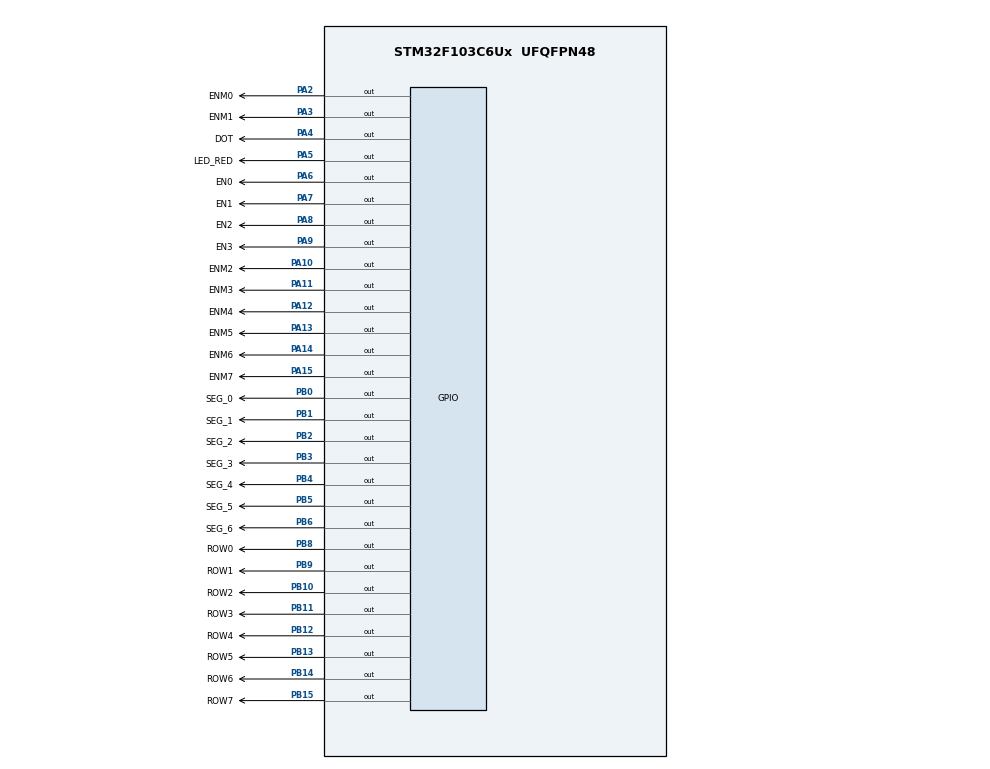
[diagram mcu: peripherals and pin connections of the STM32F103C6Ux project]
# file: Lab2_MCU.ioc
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Mcu.Family=STM32F1
Mcu.Name=STM32F103C6Ux
Mcu.Package=UFQFPN48
NVIC.PriorityGroup=NVIC_PRIORITYGROUP_4
NVIC.TIM2_IRQn=true\:0\:0\:false\:false\:true\:true\:true\:true
PA10.GPIO_Label=ENM2
PA10.Signal=GPIO_Output
PA11.GPIO_Label=ENM3
PA11.Signal=GPIO_Output
PA12.GPIO_Label=ENM4
PA12.Signal=GPIO_Output
PA13.GPIO_Label=ENM5
PA13.Signal=GPIO_Output
PA14.GPIO_Label=ENM6
PA14.Signal=GPIO_Output
PA15.GPIO_Label=ENM7
PA15.Signal=GPIO_Output
PA2.GPIO_Label=ENM0
PA2.Signal=GPIO_Output
PA3.GPIO_Label=ENM1
PA3.Signal=GPIO_Output
PA4.GPIO_Label=DOT
PA4.Signal=GPIO_Output
PA5.GPIO_Label=LED_RED
PA5.Signal=GPIO_Output
PA6.GPIO_Label=EN0
PA6.Signal=GPIO_Output
PA7.GPIO_Label=EN1
PA7.Signal=GPIO_Output
PA8.GPIO_Label=EN2
PA8.Signal=GPIO_Output
PA9.GPIO_Label=EN3
PA9.Signal=GPIO_Output
PB0.GPIO_Label=SEG_0
PB0.Signal=GPIO_Output
PB1.GPIO_Label=SEG_1
PB1.Signal=GPIO_Output
PB10.GPIO_Label=ROW2
PB10.Signal=GPIO_Output
PB11.GPIO_Label=ROW3
PB11.Signal=GPIO_Output
PB12.GPIO_Label=ROW4
PB12.Signal=GPIO_Output
PB13.GPIO_Label=ROW5
PB13.Signal=GPIO_Output
PB14.GPIO_Label=ROW6
PB14.Signal=GPIO_Output
PB15.GPIO_Label=ROW7
PB15.Signal=GPIO_Output
PB2.GPIO_Label=SEG_2
PB2.Signal=GPIO_Output
PB3.GPIO_Label=SEG_3
PB3.Signal=GPIO_Output
PB4.GPIO_Label=SEG_4
PB4.Signal=GPIO_Output
PB5.GPIO_Label=SEG_5
PB5.Signal=GPIO_Output
PB6.GPIO_Label=SEG_6
PB6.Signal=GPIO_Output
PB8.GPIO_Label=ROW0
PB8.Signal=GPIO_Output
PB9.GPIO_Label=ROW1
PB9.Signal=GPIO_Output
ProjectManager.HeapSize=0x200
ProjectManager.StackSize=0x400
ProjectManager.TargetToolchain=STM32CubeIDE
RCC.APB1Freq_Value=8000000
RCC.APB2Freq_Value=8000000
TIM2.Period=9
TIM2.Prescaler=7999
VP_SYS_VS_ND.Mode=No_Debug
VP_TIM2_VS_ClockSourceINT.Mode=Internal
board=custom

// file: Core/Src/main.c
/* USER CODE BEGIN Header */
/**
  ******************************************************************************
  * @file           : main.c
  * @brief          : Main program body
  ******************************************************************************
  * @attention
  *
  * Copyright (c) 2024 STMicroelectronics.
  * All rights reserved.
  *
  * This software is licensed under terms that can be found in the LICENSE file
  * in the root directory of this software component.
  * If no LICENSE file comes with this software, it is provided AS-IS.
  *
  ******************************************************************************
  */
/* USER CODE END Header */
#include "main.h"

TIM_HandleTypeDef htim2;

void SystemClock_Config(void);
static void MX_GPIO_Init(void);
static void MX_TIM2_Init(void);

/* USER CODE BEGIN 0 */

void display7SEG(int counter){
	if(counter == 0){
			HAL_GPIO_WritePin(SEG_0_GPIO_Port, SEG_0_Pin, RESET);
			HAL_GPIO_WritePin(SEG_1_GPIO_Port, SEG_1_Pin, RESET);
			HAL_GPIO_WritePin(SEG_2_GPIO_Port, SEG_2_Pin, RESET);
			HAL_GPIO_WritePin(SEG_3_GPIO_Port, SEG_3_Pin, RESET);
			HAL_GPIO_WritePin(SEG_4_GPIO_Port, SEG_4_Pin, RESET);
			HAL_GPIO_WritePin(SEG_5_GPIO_Port, SEG_5_Pin, RESET);
			HAL_GPIO_WritePin(SEG_6_GPIO_Port, SEG_6_Pin, SET);
	}
	if(counter == 1){
			HAL_GPIO_WritePin(SEG_0_GPIO_Port, SEG_0_Pin, SET);
			HAL_GPIO_WritePin(SEG_1_GPIO_Port, SEG_1_Pin, RESET);
			HAL_GPIO_WritePin(SEG_2_GPIO_Port, SEG_2_Pin, RESET);
			HAL_GPIO_WritePin(SEG_3_GPIO_Port, SEG_3_Pin, SET);
			HAL_GPIO_WritePin(SEG_4_GPIO_Port, SEG_4_Pin, SET);
			HAL_GPIO_WritePin(SEG_5_GPIO_Port, SEG_5_Pin, SET);
			HAL_GPIO_WritePin(SEG_6_GPIO_Port, SEG_6_Pin, SET);
		}
	if(counter == 2){
			HAL_GPIO_WritePin(SEG_0_GPIO_Port, SEG_0_Pin, RESET);
			HAL_GPIO_WritePin(SEG_1_GPIO_Port, SEG_1_Pin, RESET);
			HAL_GPIO_WritePin(SEG_2_GPIO_Port, SEG_2_Pin, SET);
			HAL_GPIO_WritePin(SEG_3_GPIO_Port, SEG_3_Pin, RESET);
			HAL_GPIO_WritePin(SEG_4_GPIO_Port, SEG_4_Pin, RESET);
			HAL_GPIO_WritePin(SEG_5_GPIO_Port, SEG_5_Pin, SET);
			HAL_GPIO_WritePin(SEG_6_GPIO_Port, SEG_6_Pin, RESET);
		}
	if(counter == 3){
			HAL_GPIO_WritePin(SEG_0_GPIO_Port, SEG_0_Pin, RESET);
			HAL_GPIO_WritePin(SEG_1_GPIO_Port, SEG_1_Pin, RESET);
			HAL_GPIO_WritePin(SEG_2_GPIO_Port, SEG_2_Pin, RESET);
			HAL_GPIO_WritePin(SEG_3_GPIO_Port, SEG_3_Pin, RESET);
			HAL_GPIO_WritePin(SEG_4_GPIO_Port, SEG_4_Pin, SET);
			HAL_GPIO_WritePin(SEG_5_GPIO_Port, SEG_5_Pin, SET);
			HAL_GPIO_WritePin(SEG_6_GPIO_Port, SEG_6_Pin, RESET);
		}
	if(counter == 4){
			HAL_GPIO_WritePin(SEG_0_GPIO_Port, SEG_0_Pin, SET);
			HAL_GPIO_WritePin(SEG_1_GPIO_Port, SEG_1_Pin, RESET);
			HAL_GPIO_WritePin(SEG_2_GPIO_Port, SEG_2_Pin, RESET);
			HAL_GPIO_WritePin(SEG_3_GPIO_Port, SEG_3_Pin, SET);
			HAL_GPIO_WritePin(SEG_4_GPIO_Port, SEG_4_Pin, SET);
			HAL_GPIO_WritePin(SEG_5_GPIO_Port, SEG_5_Pin, RESET);
			HAL_GPIO_WritePin(SEG_6_GPIO_Port, SEG_6_Pin, RESET);
		}
	if(counter == 5){
			HAL_GPIO_WritePin(SEG_0_GPIO_Port, SEG_0_Pin, RESET);
			HAL_GPIO_WritePin(SEG_1_GPIO_Port, SEG_1_Pin, SET);
			HAL_GPIO_WritePin(SEG_2_GPIO_Port, SEG_2_Pin, RESET);
			HAL_GPIO_WritePin(SEG_3_GPIO_Port, SEG_3_Pin, RESET);
			HAL_GPIO_WritePin(SEG_4_GPIO_Port, SEG_4_Pin, SET);
			HAL_GPIO_WritePin(SEG_5_GPIO_Port, SEG_5_Pin, RESET);
			HAL_GPIO_WritePin(SEG_6_GPIO_Port, SEG_6_Pin, RESET);
		}
	if(counter == 6){
			HAL_GPIO_WritePin(SEG_0_GPIO_Port, SEG_0_Pin, RESET);
			HAL_GPIO_WritePin(SEG_1_GPIO_Port, SEG_1_Pin, SET);
			HAL_GPIO_WritePin(SEG_2_GPIO_Port, SEG_2_Pin, RESET);
			HAL_GPIO_WritePin(SEG_3_GPIO_Port, SEG_3_Pin, RESET);
			HAL_GPIO_WritePin(SEG_4_GPIO_Port, SEG_4_Pin, RESET);
			HAL_GPIO_WritePin(SEG_5_GPIO_Port, SEG_5_Pin, RESET);
			HAL_GPIO_WritePin(SEG_6_GPIO_Port, SEG_6_Pin, RESET);
		}
	if(counter == 7){
			HAL_GPIO_WritePin(SEG_0_GPIO_Port, SEG_0_Pin, RESET);
			HAL_GPIO_WritePin(SEG_1_GPIO_Port, SEG_1_Pin, RESET);
			HAL_GPIO_WritePin(SEG_2_GPIO_Port, SEG_2_Pin, RESET);
			HAL_GPIO_WritePin(SEG_3_GPIO_Port, SEG_3_Pin, SET);
			HAL_GPIO_WritePin(SEG_4_GPIO_Port, SEG_4_Pin, SET);
			HAL_GPIO_WritePin(SEG_5_GPIO_Port, SEG_5_Pin, SET);
			HAL_GPIO_WritePin(SEG_6_GPIO_Port, SEG_6_Pin, SET);
		}
	if(counter == 8){
			HAL_GPIO_WritePin(SEG_0_GPIO_Port, SEG_0_Pin, RESET);
			HAL_GPIO_WritePin(SEG_1_GPIO_Port, SEG_1_Pin, RESET);
			HAL_GPIO_WritePin(SEG_2_GPIO_Port, SEG_2_Pin, RESET);
			HAL_GPIO_WritePin(SEG_3_GPIO_Port, SEG_3_Pin, RESET);
			HAL_GPIO_WritePin(SEG_4_GPIO_Port, SEG_4_Pin, RESET);
			HAL_GPIO_WritePin(SEG_5_GPIO_Port, SEG_5_Pin, RESET);
			HAL_GPIO_WritePin(SEG_6_GPIO_Port, SEG_6_Pin, RESET);
		}
	if(counter == 9){
			HAL_GPIO_WritePin(SEG_0_GPIO_Port, SEG_0_Pin, RESET);
			HAL_GPIO_WritePin(SEG_1_GPIO_Port, SEG_1_Pin, RESET);
			HAL_GPIO_WritePin(SEG_2_GPIO_Port, SEG_2_Pin, RESET);
			HAL_GPIO_WritePin(SEG_3_GPIO_Port, SEG_3_Pin, RESET);
			HAL_GPIO_WritePin(SEG_4_GPIO_Port, SEG_4_Pin, SET);
			HAL_GPIO_WritePin(SEG_5_GPIO_Port, SEG_5_Pin, RESET);
			HAL_GPIO_WritePin(SEG_6_GPIO_Port, SEG_6_Pin, RESET);
		}
}

void update7SEG ( int index, int status ) {
	switch ( index ) {
		case 0:
			HAL_GPIO_WritePin(EN0_GPIO_Port, EN0_Pin, RESET);
			HAL_GPIO_WritePin(EN1_GPIO_Port, EN1_Pin, SET);
			HAL_GPIO_WritePin(EN2_GPIO_Port, EN2_Pin, SET);
			HAL_GPIO_WritePin(EN3_GPIO_Port, EN3_Pin, SET);
			display7SEG(status);
 // Display the first 7 SEG with led_buffer [0]
			break ;
		case 1:
			HAL_GPIO_WritePin(EN1_GPIO_Port, EN1_Pin, RESET);
			HAL_GPIO_WritePin(EN0_GPIO_Port, EN0_Pin, SET);
			HAL_GPIO_WritePin(EN2_GPIO_Port, EN2_Pin, SET);
			HAL_GPIO_WritePin(EN3_GPIO_Port, EN3_Pin, SET);
			display7SEG(status);
 // Display the second 7 SEG with led_buffer [1]
			break ;
		case 2:
			HAL_GPIO_WritePin(EN1_GPIO_Port, EN1_Pin, SET);
			HAL_GPIO_WritePin(EN0_GPIO_Port, EN0_Pin, SET);
			HAL_GPIO_WritePin(EN2_GPIO_Port, EN2_Pin, RESET);
			HAL_GPIO_WritePin(EN3_GPIO_Port, EN3_Pin, SET);
			display7SEG(status);
 // Display the third 7 SEG with led_buffer [2]
			break ;
		case 3:
			HAL_GPIO_WritePin(EN1_GPIO_Port, EN1_Pin, SET);
			HAL_GPIO_WritePin(EN0_GPIO_Port, EN0_Pin, SET);
			HAL_GPIO_WritePin(EN2_GPIO_Port, EN2_Pin, SET);
			HAL_GPIO_WritePin(EN3_GPIO_Port, EN3_Pin, RESET);
			display7SEG(status);
 // Display the forth 7 SEG with led_buffer [3]
			break ;
		default :
			break ;
		}
	}
int clock[4] = {0,0,0,0};
static int led_buffer[4] = {0,0,0,0};
int *updateClockBuffer(int hour, int minute){
	clock[0] = hour/10;
	clock[1] = hour%10;
	clock[2] = minute/10;
	clock[3] = minute%10;
	return clock;
}

int timer0_counter = 0;
int timer0_flag = 0;
int timer1_counter = 0;
int timer1_flag = 0;
int timer2_counter = 0;
int timer2_flag = 0;
int TIMER_CYCLE = 10;
void setTimer0(int duration){
	timer0_counter = duration /TIMER_CYCLE;
	timer0_flag = 0;
}
void setTimer1(int duration){
	timer1_counter = duration /TIMER_CYCLE;
	timer1_flag = 0;
}
void setTimer2(int duration){
	timer2_counter = duration /TIMER_CYCLE;
	timer2_flag = 0;
}
void timer_run(){
	if(timer0_counter > 0){
		timer0_counter--;
		if(timer0_counter == 0)
			timer0_flag = 1;
	}
	if(timer1_counter > 0){
		timer1_counter--;
		if(timer1_counter == 0)
			timer1_flag = 1;
	}
	if(timer2_counter > 0){
		timer2_counter--;
		if(timer2_counter ==0)
			timer2_flag = 1;
	}

}

void clearLEDMatrix() {
	//This function aims to turn off all leds
	HAL_GPIO_WritePin(ROW0_GPIO_Port, ROW0_Pin, 1);
	HAL_GPIO_WritePin(ROW1_GPIO_Port, ROW1_Pin, 1);
	HAL_GPIO_WritePin(ROW2_GPIO_Port, ROW2_Pin, 1);
	HAL_GPIO_WritePin(ROW3_GPIO_Port, ROW3_Pin, 1);
	HAL_GPIO_WritePin(ROW4_GPIO_Port, ROW4_Pin, 1);
	HAL_GPIO_WritePin(ROW5_GPIO_Port, ROW5_Pin, 1);
	HAL_GPIO_WritePin(ROW6_GPIO_Port, ROW6_Pin, 1);
	HAL_GPIO_WritePin(ROW7_GPIO_Port, ROW7_Pin, 1);
}

void displayLEDMatrix(uint8_t num) {
	//This function aims to display data onto the led matrix

	//each line represents each how many led will be turned on each column
	HAL_GPIO_WritePin(ENM0_GPIO_Port, ENM0_Pin, !(num & 0x01));	//column 0
	HAL_GPIO_WritePin(ENM1_GPIO_Port, ENM1_Pin, !(num & 0x02));	//column 1
	HAL_GPIO_WritePin(ENM2_GPIO_Port, ENM2_Pin, !(num & 0x04));	//column 2
	HAL_GPIO_WritePin(ENM3_GPIO_Port, ENM3_Pin, !(num & 0x08));	//column 3
	HAL_GPIO_WritePin(ENM4_GPIO_Port, ENM4_Pin, !(num & 0x10));	//column 4
	HAL_GPIO_WritePin(ENM5_GPIO_Port, ENM5_Pin, !(num & 0x20));	//column 5
	HAL_GPIO_WritePin(ENM6_GPIO_Port, ENM6_Pin, !(num & 0x40));	//column 6
	HAL_GPIO_WritePin(ENM7_GPIO_Port, ENM7_Pin, !(num & 0x80));	//column 7
}

const int MAX_LED_MATRIX = 8;
int index_led_matrix = 0;
//the matrix buffer holds the data for each row in led matrix
uint8_t matrix_buffer[8] = { 0x18, 0x3C, 0x66, 0x66, 0x7E, 0x66, 0x66, 0x66 }; //A
void updateLEDMatrix(int index) {
	//In each case, we use clearLEDMatrix() and then set RESET signal on
	//the corresponding row. Then, we call displayLEDMatrix() to display
	//the data we want.
	switch (index) {
	case 0:
		clearLEDMatrix();
		HAL_GPIO_WritePin(ROW0_GPIO_Port, ROW0_Pin, RESET);
		displayLEDMatrix(matrix_buffer[index]);
		break;
	case 1:
		clearLEDMatrix();
		HAL_GPIO_WritePin(ROW1_GPIO_Port, ROW1_Pin, RESET);
		displayLEDMatrix(matrix_buffer[index]);
		break;
	case 2:
		clearLEDMatrix();
		HAL_GPIO_WritePin(ROW2_GPIO_Port, ROW2_Pin, RESET);
		displayLEDMatrix(matrix_buffer[index]);
		break;
	case 3:
		clearLEDMatrix();
		HAL_GPIO_WritePin(ROW3_GPIO_Port, ROW3_Pin, RESET);
		displayLEDMatrix(matrix_buffer[index]);
		break;
	case 4:
		clearLEDMatrix();
		HAL_GPIO_WritePin(ROW4_GPIO_Port, ROW4_Pin, RESET);
		displayLEDMatrix(matrix_buffer[index]);
		break;
	case 5:
		clearLEDMatrix();
		HAL_GPIO_WritePin(ROW5_GPIO_Port, ROW5_Pin, RESET);
		displayLEDMatrix(matrix_buffer[index]);
		break;
	case 6:
		clearLEDMatrix();
		HAL_GPIO_WritePin(ROW6_GPIO_Port, ROW6_Pin, RESET);
		displayLEDMatrix(matrix_buffer[index]);
		break;
	case 7:
		clearLEDMatrix();
		HAL_GPIO_WritePin(ROW7_GPIO_Port, ROW7_Pin, RESET);
		displayLEDMatrix(matrix_buffer[index]);
		break;
	default:
		break;
	}
}

void ledMatrixEffect() {
	//This functions aims to shift left the 'A' text
	int i;
	for (i = 0; i < 8; i++) {
		matrix_buffer[i] = (matrix_buffer[i] >> 1) + (matrix_buffer[i] << 7);
	}
}

/* USER CODE END 0 */

int main(void)
{

  /* MCU Configuration--------------------------------------------------------*/

  /* Reset of all peripherals, Initializes the Flash interface and the Systick. */
  HAL_Init();

  /* Configure the system clock */
  SystemClock_Config();

  /* Initialize all configured peripherals */
  MX_GPIO_Init();
  MX_TIM2_Init();
  /* USER CODE BEGIN 2 */
  HAL_TIM_Base_Start_IT(&htim2);
  /* USER CODE END 2 */

  /* Infinite loop */
  /* USER CODE BEGIN WHILE */
  int hour = 23,  minute = 59, second = 55;
  setTimer0(1000);
  setTimer1(250);
  setTimer2(25);
  int *buffer;
  int MAX_LED = 4;
  int index = 0;
  int led_matrix_index = 0;
  while (1)
  {
    /* USER CODE END WHILE */

    /* USER CODE BEGIN 3 */
	  if(timer0_flag == 1){
		  setTimer0(1000);
	  	  	  second++;
	  	  	  if(second >= 60){
	  	  		 second = 0;
	  	  	  	 minute++;
	  	  	  	 	  }
	  	  	  if(minute >= 60){
	  	  	  	 minute = 0;
	  	  	  	 hour++;
	  	  	  	 	  }
	  	  	  if(hour >= 24){
	  	  	  	 hour = 0;
	  	  	  	 	  }
	  	  	  HAL_GPIO_TogglePin(DOT_GPIO_Port, DOT_Pin);
	  	  	  }
	  if(timer1_flag == 1){
		  setTimer1(250);
		  if(index >= MAX_LED){
			  index = 0;
		  }
		  buffer = updateClockBuffer(hour, minute);
		  led_buffer[0] = buffer[0];
		  led_buffer[1] = buffer[1];
		  led_buffer[2] = buffer[2];
		  led_buffer[3] = buffer[3];
		  update7SEG(index, led_buffer[index]);
		  index++;
	  }
//	  Led_matrix display
	  if (timer2_flag == 1) {
	  			//set timer2 = 0.01s
	  			setTimer2(10);
	  			if (led_matrix_index >= 8) {
	  				led_matrix_index = 0;
	  				ledMatrixEffect();
	  			}
	  			updateLEDMatrix(led_matrix_index++);
	  		}
	    }
  /* USER CODE END 3 */
}

void SystemClock_Config(void)
{
  RCC_OscInitTypeDef RCC_OscInitStruct = {0};
  RCC_ClkInitTypeDef RCC_ClkInitStruct = {0};

  /** Initializes the RCC Oscillators according to the specified parameters
  * in the RCC_OscInitTypeDef structure.
  */
  RCC_OscInitStruct.OscillatorType = RCC_OSCILLATORTYPE_HSI;
  RCC_OscInitStruct.HSIState = RCC_HSI_ON;
  RCC_OscInitStruct.HSICalibrationValue = RCC_HSICALIBRATION_DEFAULT;
  RCC_OscInitStruct.PLL.PLLState = RCC_PLL_NONE;
  if (HAL_RCC_OscConfig(&RCC_OscInitStruct) != HAL_OK)
  {
    Error_Handler();
  }

  /** Initializes the CPU, AHB and APB buses clocks
  */
  RCC_ClkInitStruct.ClockType = RCC_CLOCKTYPE_HCLK|RCC_CLOCKTYPE_SYSCLK
                              |RCC_CLOCKTYPE_PCLK1|RCC_CLOCKTYPE_PCLK2;
  RCC_ClkInitStruct.SYSCLKSource = RCC_SYSCLKSOURCE_HSI;
  RCC_ClkInitStruct.AHBCLKDivider = RCC_SYSCLK_DIV1;
  RCC_ClkInitStruct.APB1CLKDivider = RCC_HCLK_DIV1;
  RCC_ClkInitStruct.APB2CLKDivider = RCC_HCLK_DIV1;

  if (HAL_RCC_ClockConfig(&RCC_ClkInitStruct, FLASH_LATENCY_0) != HAL_OK)
  {
    Error_Handler();
  }
}

static void MX_TIM2_Init(void)
{

  TIM_ClockConfigTypeDef sClockSourceConfig = {0};
  TIM_MasterConfigTypeDef sMasterConfig = {0};

  htim2.Instance = TIM2;
  htim2.Init.Prescaler = 7999;
  htim2.Init.CounterMode = TIM_COUNTERMODE_UP;
  htim2.Init.Period = 9;
  htim2.Init.ClockDivision = TIM_CLOCKDIVISION_DIV1;
  htim2.Init.AutoReloadPreload = TIM_AUTORELOAD_PRELOAD_DISABLE;
  if (HAL_TIM_Base_Init(&htim2) != HAL_OK)
  {
    Error_Handler();
  }
  sClockSourceConfig.ClockSource = TIM_CLOCKSOURCE_INTERNAL;
  if (HAL_TIM_ConfigClockSource(&htim2, &sClockSourceConfig) != HAL_OK)
  {
    Error_Handler();
  }
  sMasterConfig.MasterOutputTrigger = TIM_TRGO_RESET;
  sMasterConfig.MasterSlaveMode = TIM_MASTERSLAVEMODE_DISABLE;
  if (HAL_TIMEx_MasterConfigSynchronization(&htim2, &sMasterConfig) != HAL_OK)
  {
    Error_Handler();
  }

}

static void MX_GPIO_Init(void)
{
  GPIO_InitTypeDef GPIO_InitStruct = {0};

  /* GPIO Ports Clock Enable */
  __HAL_RCC_GPIOA_CLK_ENABLE();
  __HAL_RCC_GPIOB_CLK_ENABLE();

  /*Configure GPIO pin Output Level */
  HAL_GPIO_WritePin(GPIOA, ENM0_Pin|ENM1_Pin|DOT_Pin|LED_RED_Pin
                          |EN0_Pin|EN1_Pin|EN2_Pin|EN3_Pin
                          |ENM2_Pin|ENM3_Pin|ENM4_Pin|ENM5_Pin
                          |ENM6_Pin|ENM7_Pin, GPIO_PIN_RESET);

  /*Configure GPIO pin Output Level */
  HAL_GPIO_WritePin(GPIOB, SEG_0_Pin|SEG_1_Pin|SEG_2_Pin|ROW2_Pin
                          |ROW3_Pin|ROW4_Pin|ROW5_Pin|ROW6_Pin
                          |ROW7_Pin|SEG_3_Pin|SEG_4_Pin|SEG_5_Pin
                          |SEG_6_Pin|ROW0_Pin|ROW1_Pin, GPIO_PIN_RESET);

  /*Configure GPIO pins : ENM0_Pin ENM1_Pin DOT_Pin LED_RED_Pin
                           EN0_Pin EN1_Pin EN2_Pin EN3_Pin
                           ENM2_Pin ENM3_Pin ENM4_Pin ENM5_Pin
                           ENM6_Pin ENM7_Pin */
  GPIO_InitStruct.Pin = ENM0_Pin|ENM1_Pin|DOT_Pin|LED_RED_Pin
                          |EN0_Pin|EN1_Pin|EN2_Pin|EN3_Pin
                          |ENM2_Pin|ENM3_Pin|ENM4_Pin|ENM5_Pin
                          |ENM6_Pin|ENM7_Pin;
  GPIO_InitStruct.Mode = GPIO_MODE_OUTPUT_PP;
  GPIO_InitStruct.Pull = GPIO_NOPULL;
  GPIO_InitStruct.Speed = GPIO_SPEED_FREQ_LOW;
  HAL_GPIO_Init(GPIOA, &GPIO_InitStruct);

  /*Configure GPIO pins : SEG_0_Pin SEG_1_Pin SEG_2_Pin ROW2_Pin
                           ROW3_Pin ROW4_Pin ROW5_Pin ROW6_Pin
                           ROW7_Pin SEG_3_Pin SEG_4_Pin SEG_5_Pin
                           SEG_6_Pin ROW0_Pin ROW1_Pin */
  GPIO_InitStruct.Pin = SEG_0_Pin|SEG_1_Pin|SEG_2_Pin|ROW2_Pin
                          |ROW3_Pin|ROW4_Pin|ROW5_Pin|ROW6_Pin
                          |ROW7_Pin|SEG_3_Pin|SEG_4_Pin|SEG_5_Pin
                          |SEG_6_Pin|ROW0_Pin|ROW1_Pin;
  GPIO_InitStruct.Mode = GPIO_MODE_OUTPUT_PP;
  GPIO_InitStruct.Pull = GPIO_NOPULL;
  GPIO_InitStruct.Speed = GPIO_SPEED_FREQ_LOW;
  HAL_GPIO_Init(GPIOB, &GPIO_InitStruct);

}

/* USER CODE BEGIN 4 */

void Error_Handler(void)
{
  /* USER CODE BEGIN Error_Handler_Debug */
  /* User can add his own implementation to report the HAL error return state */
  __disable_irq();
  while (1)
  {
  }
  /* USER CODE END Error_Handler_Debug */
}

void HAL_TIM_PeriodElapsedCallback(TIM_HandleTypeDef *htim) {
	timer_run();
}
/* USER CODE END 4 */
